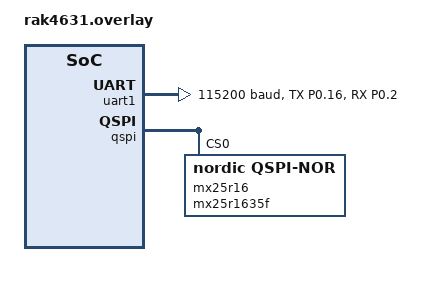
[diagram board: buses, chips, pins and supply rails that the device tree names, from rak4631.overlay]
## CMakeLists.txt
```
cmake_minimum_required(VERSION 3.20.0)
find_package(Zephyr REQUIRED HINTS $ENV{ZEPHYR_BASE})
project(hwTest_flash)

target_sources(app PRIVATE src/main.c)
```

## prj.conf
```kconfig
CONFIG_GPIO=y
CONFIG_SERIAL=y
CONFIG_CONSOLE=y
CONFIG_UART_CONSOLE=y
CONFIG_PRINTK=y

CONFIG_FLASH=y
CONFIG_NORDIC_QSPI_NOR=y
CONFIG_NORDIC_QSPI_NOR_FLASH_LAYOUT_PAGE_SIZE=4096
```

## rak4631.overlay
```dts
/*
 * HW Test - Flash (MX25R1635F) - RAK4631 Overlay
 * Debug UART (uart1): TX=P0.16 only
 * QSPI Flash: MX25R1635F 16Mbit
 */

/ {
	chosen {
		zephyr,console = &uart1;
	};
};

&uart1 {
	compatible = "nordic,nrf-uarte";
	status = "okay";
	current-speed = <115200>;
	pinctrl-0 = <&uart1_default>;
	pinctrl-1 = <&uart1_sleep>;
	pinctrl-names = "default", "sleep";
};

&qspi {
	status = "okay";
	pinctrl-0 = <&qspi_default>;
	pinctrl-1 = <&qspi_sleep>;
	pinctrl-names = "default", "sleep";

	mx25r16: mx25r1635f@0 {
		compatible = "nordic,qspi-nor";
		reg = <0>;
		sck-frequency = <8000000>;
		jedec-id = [c2 28 15];
		size = <16777216>;  /* 16 Mbit = 2 MB */
		has-dpd;
		t-enter-dpd = <10000>;
		t-exit-dpd = <35000>;
	};
};

&pinctrl {
	uart1_default: uart1_default {
		group1 {
			psels = <NRF_PSEL(UART_TX, 0, 16)>;
		};
		group2 {
			psels = <NRF_PSEL(UART_RX, 0, 2)>;
			bias-pull-up;
		};
	};

	uart1_sleep: uart1_sleep {
		group1 {
			psels = <NRF_PSEL(UART_TX, 0, 16)>,
				<NRF_PSEL(UART_RX, 0, 2)>;
			low-power-enable;
		};
	};
};
```

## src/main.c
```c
#include <zephyr/kernel.h>
#include <zephyr/device.h>
#include <zephyr/drivers/flash.h>
#include <zephyr/drivers/gpio.h>
#include <string.h>

/* LED_EN: P0.15 */
#define PIN_LED_EN  15

/* 테스트용 오프셋 (마지막 섹터 사용, 데이터 영역에 영향 없음) */
#define TEST_OFFSET  0x1FF000  /* 2MB - 4KB */
#define TEST_SIZE    256
#define PAGE_SIZE    4096

static const struct device *flash_dev;

static int flash_self_test(void)
{
	uint8_t write_buf[TEST_SIZE];
	uint8_t read_buf[TEST_SIZE];
	int ret;

	/* 1. 테스트 패턴 생성 */
	for (int i = 0; i < TEST_SIZE; i++) {
		write_buf[i] = (uint8_t)(i ^ 0xA5);
	}

	/* 2. Erase */
	printk("  [1] Erase (offset=0x%06X, size=%d)...", TEST_OFFSET, PAGE_SIZE);
	ret = flash_erase(flash_dev, TEST_OFFSET, PAGE_SIZE);
	if (ret < 0) {
		printk(" FAIL (%d)\n", ret);
		return ret;
	}
	printk(" OK\n");

	/* 3. Erase 확인 (0xFF) */
	memset(read_buf, 0, TEST_SIZE);
	ret = flash_read(flash_dev, TEST_OFFSET, read_buf, TEST_SIZE);
	if (ret < 0) {
		printk("  [2] Read after erase... FAIL (%d)\n", ret);
		return ret;
	}
	bool erased = true;
	for (int i = 0; i < TEST_SIZE; i++) {
		if (read_buf[i] != 0xFF) {
			erased = false;
			break;
		}
	}
	printk("  [2] Erase verify... %s\n", erased ? "OK (all 0xFF)" : "FAIL");
	if (!erased) {
		return -1;
	}

	/* 4. Write */
	printk("  [3] Write %d bytes...", TEST_SIZE);
	ret = flash_write(flash_dev, TEST_OFFSET, write_buf, TEST_SIZE);
	if (ret < 0) {
		printk(" FAIL (%d)\n", ret);
		return ret;
	}
	printk(" OK\n");

	/* 5. Read back & verify */
	memset(read_buf, 0, TEST_SIZE);
	ret = flash_read(flash_dev, TEST_OFFSET, read_buf, TEST_SIZE);
	if (ret < 0) {
		printk("  [4] Read back... FAIL (%d)\n", ret);
		return ret;
	}

	if (memcmp(write_buf, read_buf, TEST_SIZE) == 0) {
		printk("  [4] Read verify... OK (data match)\n");
	} else {
		printk("  [4] Read verify... FAIL (data mismatch)\n");
		for (int i = 0; i < 16; i++) {
			printk("    [%02X] wrote=0x%02X read=0x%02X %s\n",
			       i, write_buf[i], read_buf[i],
			       write_buf[i] == read_buf[i] ? "" : "<<");
		}
		return -1;
	}

	/* 6. Erase (원상복구) */
	printk("  [5] Cleanup erase...");
	ret = flash_erase(flash_dev, TEST_OFFSET, PAGE_SIZE);
	if (ret < 0) {
		printk(" FAIL (%d)\n", ret);
		return ret;
	}
	printk(" OK\n");

	return 0;
}

int main(void)
{
	int ret;
	const struct device *gpio0;

	printk("\n========================================\n");
	printk("  HW Test - Flash (MX25R1635F)\n");
	printk("  REVITA_LINK_v1 / RAK4631\n");
	printk("========================================\n");
	printk("  QSPI Flash: MX25R1635F (16Mbit/2MB)\n");
	printk("  Test offset: 0x%06X\n", TEST_OFFSET);
	printk("  Test size: %d bytes\n", TEST_SIZE);
	printk("========================================\n\n");

	/* LED */
	gpio0 = DEVICE_DT_GET(DT_NODELABEL(gpio0));
	if (device_is_ready(gpio0)) {
		gpio_pin_configure(gpio0, PIN_LED_EN, GPIO_OUTPUT_LOW);
	}

	/* Flash 디바이스 */
	flash_dev = DEVICE_DT_GET(DT_NODELABEL(mx25r16));
	if (!device_is_ready(flash_dev)) {
		printk("ERROR: Flash device not ready\n");
		return -1;
	}
	printk("Flash device ready\n\n");

	/* 셀프 테스트 실행 */
	printk("=== Flash Self Test ===\n");
	ret = flash_self_test();
	printk("\n>>> Result: %s <<<\n\n", ret == 0 ? "PASS" : "FAIL");

	/* LED 점멸로 결과 표시 */
	while (1) {
		if (ret == 0) {
			/* PASS: 1초 점멸 */
			gpio_pin_toggle(gpio0, PIN_LED_EN);
			k_sleep(K_MSEC(1000));
		} else {
			/* FAIL: 빠른 점멸 */
			gpio_pin_toggle(gpio0, PIN_LED_EN);
			k_sleep(K_MSEC(200));
		}
	}

	return 0;
}
```
